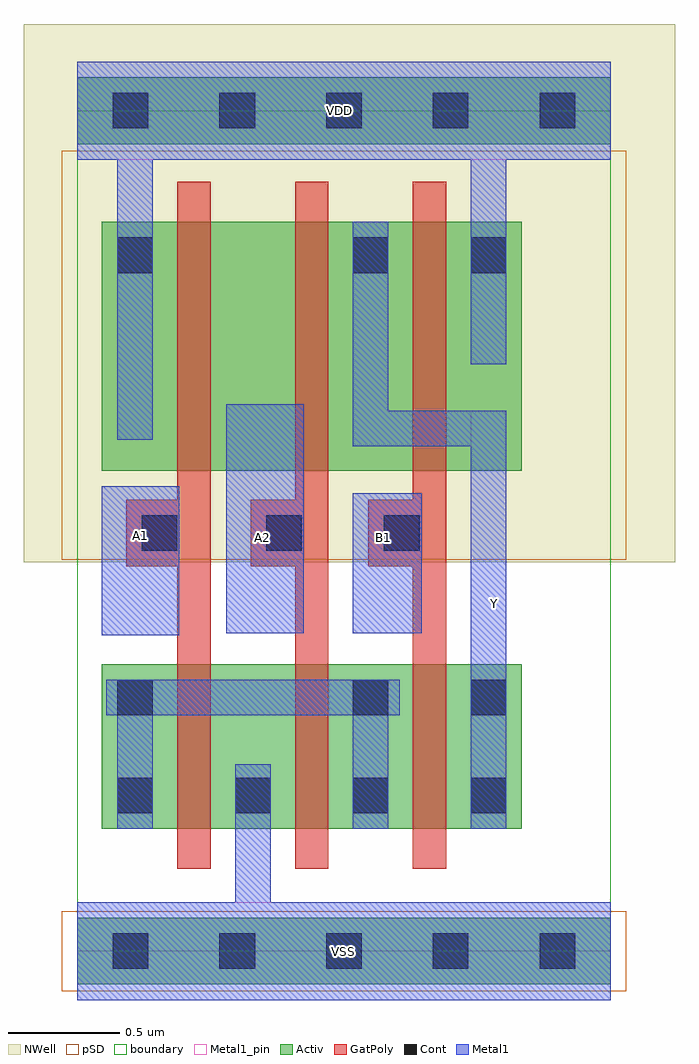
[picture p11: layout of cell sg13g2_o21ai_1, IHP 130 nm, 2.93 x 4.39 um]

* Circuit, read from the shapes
.subckt sg13g2_o21ai_1 A1 A2 B1 VDD VSS Y
XM1 VSS A1 n1 VSS sg13_lv_nmos w=0.74u l=0.15u
XM2 n1 A2 VSS VSS sg13_lv_nmos w=0.74u l=0.15u
XM3 Y B1 n1 VSS sg13_lv_nmos w=0.74u l=0.15u
XM4 n2 A1 VDD VDD sg13_lv_pmos w=1.12u l=0.15u
XM5 Y A2 n2 VDD sg13_lv_pmos w=1.12u l=0.15u
XM6 VDD B1 Y VDD sg13_lv_pmos w=1.12u l=0.15u
.ends

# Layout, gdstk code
import gdstk
lib = gdstk.Library(unit=1e-6, precision=1e-09)
def R(c, l, rs):  # rectangles x0, y0, x1, y1
    for r in rs: c.add(gdstk.rectangle(r[:2], r[2:], *l))
def A(c, l, x, y, w, h, nx, ny, dx, dy):  # array of equal rectangles
    R(c, l, [(x+i*dx, y+j*dy, x+i*dx+w, y+j*dy+h) for i in range(nx) for j in range(ny)])
Activ = (1, 0)
GatPoly = (5, 0)
Cont = (6, 0)
Metal1 = (8, 0)
Metal1_pin = (8, 2)
pSD = (14, 0)
NWell = (31, 0)
boundary = (189, 4)

sg13g2_o21ai_1 = lib.new_cell('sg13g2_o21ai_1')
R(sg13g2_o21ai_1, Activ, [(0,-0.15,2.4,0.15), (0.11,0.55,2,1.29), (0.11,2.16,2,3.28), (0,3.63,2.4,3.93)])
A(sg13g2_o21ai_1, GatPoly, 0.45, 0.37, 0.15, 1.1, 3, 1, 0.53, 0)
A(sg13g2_o21ai_1, GatPoly, 0.45, 1.47, 0.15, 1.99, 3, 1, 0.53, 0)
R(sg13g2_o21ai_1, GatPoly, [(0.22,1.73,0.52,2.03), (0.78,1.73,1.05,2.03), (1.31,1.73,1.58,2.03)])
A(sg13g2_o21ai_1, Cont, 0.16, -0.08, 0.16, 0.16, 5, 2, 0.48, 3.78)
A(sg13g2_o21ai_1, Cont, 0.18, 0.62, 0.16, 0.16, 4, 1, 0.53, 0)
R(sg13g2_o21ai_1, Cont, [(0.18,1.06,0.34,1.22), (1.24,1.06,1.4,1.22), (1.77,1.06,1.93,1.22), (0.29,1.8,0.45,1.96), (0.85,1.8,1.01,1.96), (1.38,1.8,1.54,1.96), (0.18,3.05,0.34,3.21), (1.24,3.05,1.4,3.21), (1.77,3.05,1.93,3.21)])
R(sg13g2_o21ai_1, Metal1, [(0,-0.22,2.4,0.22), (0.71,0.22,0.87,0.84), (0.18,0.55,0.34,1.22), (1.24,0.55,1.4,1.22), (1.77,0.55,1.93,2.43), (0.13,1.06,1.45,1.22), (0.11,1.42,0.46,2.09), (0.67,1.43,1.02,2.46), (1.24,1.43,1.55,2.06), (1.24,2.27,1.4,3.28), (1.4,2.27,1.77,2.43), (0.18,2.3,0.34,3.56), (1.77,2.64,1.93,3.56), (0,3.56,2.4,4)])
R(sg13g2_o21ai_1, Metal1_pin, [(0,-0.22,2.4,0.22), (1.77,0.55,1.93,2.43), (0.11,1.42,0.46,2.09), (0.67,1.43,1.02,2.46), (1.24,1.43,1.55,2.06), (0,3.56,2.4,4)])
R(sg13g2_o21ai_1, pSD, [(-0.07,-0.18,2.47,0.18), (-0.07,1.76,2.47,3.6)])
R(sg13g2_o21ai_1, NWell, [(-0.24,1.75,2.69,4.17)])
R(sg13g2_o21ai_1, boundary, [(0,0,2.4,3.78)])
sg13g2_o21ai_1.add(gdstk.Label('VSS', (1.2,0), layer=8, texttype=25))
sg13g2_o21ai_1.add(gdstk.Label('VDD', (1.18,3.78), layer=8, texttype=25))
sg13g2_o21ai_1.add(gdstk.Label('Y', (1.875,1.565), layer=8, texttype=25))
sg13g2_o21ai_1.add(gdstk.Label('B1', (1.38,1.86), layer=8, texttype=25))
sg13g2_o21ai_1.add(gdstk.Label('A2', (0.835,1.86), layer=8, texttype=25))
sg13g2_o21ai_1.add(gdstk.Label('A1', (0.285,1.87), layer=8, texttype=25))

lib.write_gds('sg13g2_o21ai_1.gds')
